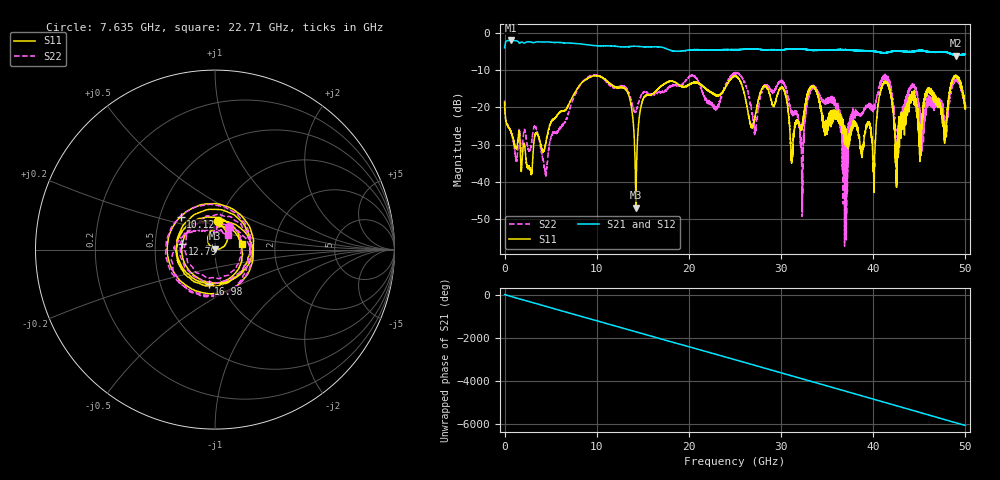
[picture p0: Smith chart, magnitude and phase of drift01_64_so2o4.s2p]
!Created with skrf (http://scikit-rf.org).
# Hz S RI R 50.0
!freq ReS11 ImS11 ReS21 ImS21 ReS12 ImS12 ReS22 ImS22
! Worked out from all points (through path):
!   10001 points, 300 kHz to 50 GHz, reference 50 ohm
!   highest |S21| = -2.00 dB at 655.3 MHz (marker M1); lowest = -6.1 dB at 48.98 GHz (marker M2)
!   group delay of S21, straight-line fit = 336 ps
!   lowest |S11| = -47.0 dB at 14.25 GHz (marker M3), VSWR 1.01, Z = 50 + j0.447 ohm
!   |S11| at or under -10 dB: start of sweep to end of sweep
!   |S22| runs from -57.3 to -10.6 dB; largest |S21 - S12| = 0.022
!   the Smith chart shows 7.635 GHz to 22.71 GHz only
!   S11 on the Smith chart (normalised r, x): 7.635 GHz: 0.98, +0.32; 10.12 GHz: 0.64, +0.25; 12.79 GHz: 0.69, +0.05; 16.98 GHz: 0.87, -0.34; 22.71 GHz: 1.34, +0.08
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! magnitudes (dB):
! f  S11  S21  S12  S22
! 300 kHz  -18.6  -4.0  -4.1  -18.1
! 655.3 MHz  -26.3  -2.0  -2.0  -26.3
! 4.445 GHz  -29.9  -2.4  -2.4  -37.8
! 7.635 GHz  -16.0  -2.8  -2.8  -16.6
! 8.335 GHz  -13.5  -2.9  -3.0  -13.5
! 10.12 GHz  -11.5  -3.4  -3.4  -11.4
! 12.79 GHz  -14.7  -3.7  -3.7  -14.3
! 14.25 GHz  -47.0  -3.6  -3.6  -21.1
! 16.67 GHz  -14.9  -3.7  -3.7  -15.9
! 16.98 GHz  -14.2  -3.8  -3.8  -15.7
! 22.71 GHz  -16.5  -4.6  -4.6  -19.8
! 25 GHz  -11.5  -4.5  -4.5  -10.9
! 27.18 GHz  -22.3  -4.3  -4.3  -26.3
! 30.21 GHz  -14.9  -4.5  -4.5  -13.4
! 32.28 GHz  -24.8  -4.3  -4.3  -47.5
! 33.34 GHz  -14.3  -4.6  -4.6  -14.9
! 36.98 GHz  -29.5  -4.6  -4.5  -27.5
! 40.04 GHz  -37.6  -4.9  -4.9  -19.8
! 41.67 GHz  -14.0  -5.1  -5.1  -13.0
! 42.6 GHz  -29.9  -4.8  -4.8  -32.1
! 48.98 GHz  -11.5  -6.1  -6.0  -12.6
! 50 GHz  -19.5  -5.7  -5.8  -19.1
